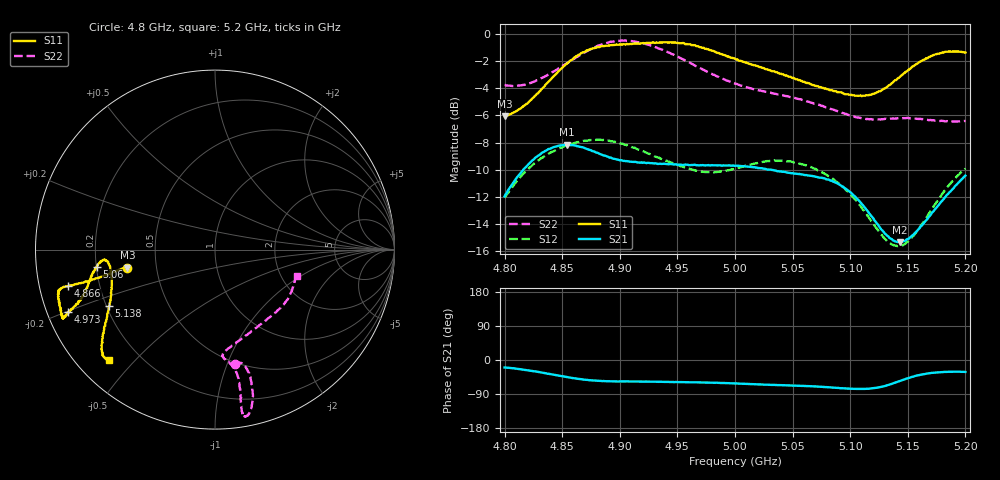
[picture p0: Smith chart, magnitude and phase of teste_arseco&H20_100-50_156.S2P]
! Network Analyzer HP8722D
! Hewlett-Packard
! Data name: Linha & Wilkinson
! Saver's name: Rodrigo Anjos
! Comments: Teste da utilização de aquisição
! continua pelo VNA HP8722D
! Time and date: 6/5/2025 13:52
!  Frequency  S11  S21  S12  S22
# HZ  S  MA R 50
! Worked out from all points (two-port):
!   401 points, 4.8 GHz to 5.2 GHz, reference 50 ohm
!   highest |S21| = -8.16 dB at 4.854 GHz (marker M1); lowest = -15.3 dB at 5.143 GHz (marker M2)
!   |S21| within 3 dB of the highest: 4.806 GHz to 5.092 GHz (286.2 MHz wide, 5.78 % of centre); 5.19146 GHz to end of sweep
!   lowest |S11| = -6.1 dB at 4.8 GHz (marker M3), VSWR 2.98, Z = 16.9 - j4.52 ohm
!   |S11| at or under -10 dB: nowhere
!   |S22| runs from -6.5 to -0.5 dB; largest |S21 - S12| = 0.62
!   S11 on the Smith chart (normalised r, x): 4.8 GHz: 0.34, -0.09; 4.866 GHz: 0.09, -0.12; 4.973 GHz: 0.06, -0.20; 5.06 GHz: 0.20, -0.07; 5.138 GHz: 0.21, -0.24; 5.2 GHz: 0.09, -0.42
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4.8e9  0.4979 -168.4  0.2529 -19.8  0.2496 -141.0  0.6483 -80.3
4.828e9  0.6015 -167.2  0.3536 -30.8  0.3394 -145.1  0.6753 -75.4
4.854e9  0.7774 -166.1  0.3908 -45.1  0.3893 -150.1  0.78 -74.8
4.866e9  0.845 -166.0  0.3838 -50.5  0.4019 -152.1  0.8383 -75.4
4.867e9  0.8507 -166.1  0.3829 -51.1  0.4024 -152.2  0.8429 -75.5
4.9e9  0.915 -162.7  0.3429 -56.4  0.3959 -156.7  0.9426 -79.2
4.934e9  0.9282 -156.6  0.3327 -57.7  0.3509 -155.8  0.8824 -80.5
4.953e9  0.9233 -155.8  0.3306 -58.2  0.3256 -152.2  0.8138 -80.0
4.973e9  0.8883 -156.9  0.3286 -59.7  0.3106 -145.9  0.7363 -79.8
5e9  0.8102 -159.3  0.3271 -62.0  0.3195 -137.3  0.6563 -81.3
5.035e9  0.7241 -165.6  0.3146 -65.9  0.3423 -134.5  0.6021 -85.6
5.06e9  0.6661 -171.8  0.3027 -68.4  0.3297 -136.4  0.5696 -84.3
5.067e9  0.6489 -173.3  0.3002 -69.3  0.3221 -136.9  0.5576 -82.7
5.085e9  0.6171 -174.5  0.2864 -72.8  0.2931 -138.6  0.5272 -75.8
5.101e9  0.5973 -172.1  0.2599 -75.9  0.2545 -138.9  0.5007 -66.5
5.117e9  0.5962 -165.0  0.2174 -75.5  0.2085 -135.1  0.4853 -55.0
5.134e9  0.6473 -154.2  0.1778 -65.1  0.1704 -120.6  0.487 -43.2
5.138e9  0.6696 -151.9  0.1734 -61.0  0.167 -115.3  0.4877 -40.8
5.143e9  0.6941 -149.4  0.1715 -55.6  0.1661 -108.8  0.4891 -37.9
5.154e9  0.7581 -144.6  0.1817 -44.3  0.1796 -94.9  0.4889 -32.3
5.174e9  0.8405 -138.6  0.2271 -33.0  0.237 -80.4  0.4793 -23.9
5.2e9  0.8528 -133.8  0.3011 -31.5  0.3198 -77.1  0.4781 -17.6
